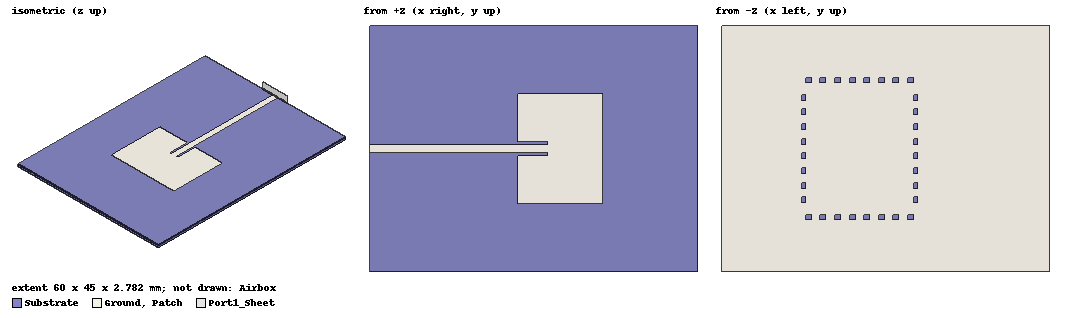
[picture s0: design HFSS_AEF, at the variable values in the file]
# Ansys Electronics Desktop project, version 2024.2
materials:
  vacuum: permittivity=1
  RO4350B: permittivity=3.48 permeability=1 dielectric_loss_tangent=0.0037
  pec: conductivity=1e+30
  air: permittivity=1.0006 permeability=1.0000004

design HFSS_AEF (HFSS, HFSS Terminal Network, model units mm)
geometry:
  Substrate [RO4350B] = box(corner=(-30mm, -22.5mm, 0mm), size=(60mm, 45mm, 0.762mm))
  Ground [pec] = rectangle(corner=(-30mm, -22.5mm, 0mm), x_size=60mm, y_size=45mm)
  Patch [pec] = rectangle(corner=(-2.99995mm, -10.01535mm, 0.762mm), x_size=15.5383mm, y_size=20.0307mm)
  Feed = rectangle(corner=(-30mm, -0.7991mm, 0.762mm), x_size=32.58775mm, y_size=1.5982mm)
  Patch.unite(Feed)
  TopCut_0_inset_gap_top = rectangle(corner=(-2.99995mm, 0.7991mm, 0.762mm), x_size=5.5877mm, y_size=0.4795mm)
  TopCut_1_inset_gap_bottom = rectangle(corner=(-2.99995mm, -1.2786mm, 0.762mm), x_size=5.5877mm, y_size=0.4795mm)
  Patch.subtract(TopCut_0_inset_gap_top, TopCut_1_inset_gap_bottom)
  GroundCut_0_ebg_0 = rectangle(corner=(-5.1421137mm, -12.897303mm, 0mm), x_size=1.0966761mm, y_size=0.76390681mm)
  GroundCut_1_ebg_1 = rectangle(corner=(-2.4669778mm, -12.897303mm, 0mm), x_size=1.0966761mm, y_size=0.76390681mm)
  GroundCut_2_ebg_2 = rectangle(corner=(0.20815807mm, -12.897303mm, 0mm), x_size=1.0966761mm, y_size=0.76390681mm)
  GroundCut_3_ebg_3 = rectangle(corner=(2.883294mm, -12.897303mm, 0mm), x_size=1.0966761mm, y_size=0.76390681mm)
  GroundCut_4_ebg_4 = rectangle(corner=(5.5584299mm, -12.897303mm, 0mm), x_size=1.0966761mm, y_size=0.76390681mm)
  GroundCut_5_ebg_5 = rectangle(corner=(8.2335658mm, -12.897303mm, 0mm), x_size=1.0966761mm, y_size=0.76390681mm)
  GroundCut_6_ebg_6 = rectangle(corner=(10.908702mm, -12.897303mm, 0mm), x_size=1.0966761mm, y_size=0.76390681mm)
  GroundCut_7_ebg_7 = rectangle(corner=(13.583838mm, -12.897303mm, 0mm), x_size=1.0966761mm, y_size=0.76390681mm)
  GroundCut_8_ebg_8 = rectangle(corner=(-5.1421137mm, 12.133397mm, 0mm), x_size=1.0966761mm, y_size=0.76390681mm)
  GroundCut_9_ebg_9 = rectangle(corner=(-2.4669778mm, 12.133397mm, 0mm), x_size=1.0966761mm, y_size=0.76390681mm)
  GroundCut_10_ebg_10 = rectangle(corner=(0.20815807mm, 12.133397mm, 0mm), x_size=1.0966761mm, y_size=0.76390681mm)
  GroundCut_11_ebg_11 = rectangle(corner=(2.883294mm, 12.133397mm, 0mm), x_size=1.0966761mm, y_size=0.76390681mm)
  GroundCut_12_ebg_12 = rectangle(corner=(5.5584299mm, 12.133397mm, 0mm), x_size=1.0966761mm, y_size=0.76390681mm)
  GroundCut_13_ebg_13 = rectangle(corner=(8.2335658mm, 12.133397mm, 0mm), x_size=1.0966761mm, y_size=0.76390681mm)
  GroundCut_14_ebg_14 = rectangle(corner=(10.908702mm, 12.133397mm, 0mm), x_size=1.0966761mm, y_size=0.76390681mm)
  GroundCut_15_ebg_15 = rectangle(corner=(13.583838mm, 12.133397mm, 0mm), x_size=1.0966761mm, y_size=0.76390681mm)
  GroundCut_16_ebg_16 = rectangle(corner=(-5.8819034mm, -9.9113137mm, 0mm), x_size=0.76390681mm, y_size=1.0966761mm)
  GroundCut_17_ebg_17 = rectangle(corner=(-5.8819034mm, -7.2361778mm, 0mm), x_size=0.76390681mm, y_size=1.0966761mm)
  GroundCut_18_ebg_18 = rectangle(corner=(-5.8819034mm, -4.5610419mm, 0mm), x_size=0.76390681mm, y_size=1.0966761mm)
  GroundCut_19_ebg_19 = rectangle(corner=(-5.8819034mm, -1.885906mm, 0mm), x_size=0.76390681mm, y_size=1.0966761mm)
  GroundCut_20_ebg_20 = rectangle(corner=(-5.8819034mm, 0.78922989mm, 0mm), x_size=0.76390681mm, y_size=1.0966761mm)
  GroundCut_21_ebg_21 = rectangle(corner=(-5.8819034mm, 3.4643658mm, 0mm), x_size=0.76390681mm, y_size=1.0966761mm)
  GroundCut_22_ebg_22 = rectangle(corner=(-5.8819034mm, 6.1395017mm, 0mm), x_size=0.76390681mm, y_size=1.0966761mm)
  GroundCut_23_ebg_23 = rectangle(corner=(-5.8819034mm, 8.8146376mm, 0mm), x_size=0.76390681mm, y_size=1.0966761mm)
  GroundCut_24_ebg_24 = rectangle(corner=(14.656397mm, -9.9113137mm, 0mm), x_size=0.76390681mm, y_size=1.0966761mm)
  GroundCut_25_ebg_25 = rectangle(corner=(14.656397mm, -7.2361778mm, 0mm), x_size=0.76390681mm, y_size=1.0966761mm)
  GroundCut_26_ebg_26 = rectangle(corner=(14.656397mm, -4.5610419mm, 0mm), x_size=0.76390681mm, y_size=1.0966761mm)
  GroundCut_27_ebg_27 = rectangle(corner=(14.656397mm, -1.885906mm, 0mm), x_size=0.76390681mm, y_size=1.0966761mm)
  GroundCut_28_ebg_28 = rectangle(corner=(14.656397mm, 0.78922989mm, 0mm), x_size=0.76390681mm, y_size=1.0966761mm)
  GroundCut_29_ebg_29 = rectangle(corner=(14.656397mm, 3.4643658mm, 0mm), x_size=0.76390681mm, y_size=1.0966761mm)
  GroundCut_30_ebg_30 = rectangle(corner=(14.656397mm, 6.1395017mm, 0mm), x_size=0.76390681mm, y_size=1.0966761mm)
  GroundCut_31_ebg_31 = rectangle(corner=(14.656397mm, 8.8146376mm, 0mm), x_size=0.76390681mm, y_size=1.0966761mm)
  Ground.subtract(GroundCut_0_ebg_0, GroundCut_1_ebg_1, GroundCut_2_ebg_2, GroundCut_3_ebg_3, GroundCut_4_ebg_4, GroundCut_5_ebg_5, GroundCut_6_ebg_6, GroundCut_7_ebg_7, GroundCut_8_ebg_8, GroundCut_9_ebg_9, GroundCut_10_ebg_10, GroundCut_11_ebg_11, GroundCut_12_ebg_12, GroundCut_13_ebg_13, GroundCut_14_ebg_14, GroundCut_15_ebg_15, GroundCut_16_ebg_16, GroundCut_17_ebg_17, GroundCut_18_ebg_18, GroundCut_19_ebg_19, GroundCut_20_ebg_20, GroundCut_21_ebg_21, GroundCut_22_ebg_22, GroundCut_23_ebg_23, GroundCut_24_ebg_24, GroundCut_25_ebg_25, GroundCut_26_ebg_26, GroundCut_27_ebg_27, GroundCut_28_ebg_28, GroundCut_29_ebg_29, GroundCut_30_ebg_30, GroundCut_31_ebg_31)
  Airbox [air] = box(corner=(-30mm, -42.5mm, -20mm), size=(80mm, 85mm, 40.762mm))
  Port1_Sheet = rectangle(corner=(-30mm, -3.9955mm, -0.02mm), y_size=7.991mm, z_size=2.782mm)
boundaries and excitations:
  Copper_PEC: Perfect E Objects=[Ground, Patch]
  Radiation: Radiation Objects=Airbox
  Port1: Wave Port Objects=Port1_Sheet WavePortType=Modal NumModes=1 Modes{Mode1{CharImp=Zpi RenormImp=50ohm}}
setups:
  Setup1: HfssDriven Frequency=5GHz MaxDeltaS=0.02 MaximumPasses=10 MinimumPasses=1 MinimumConvergedPasses=1 PercentRefinement=30 BasisOrder=1 PortAccuracy=2 DrivenSolverType="Direct Solver"
    sweep Sweep_4_6GHz: 4GHz to 6GHz, 101 points; Type=Interpolating SaveRadFields InterpTolerance=0.5 InterpMaxSolns=250 InterpUsePortImped=false PassivityErrorTolerance=0.0001
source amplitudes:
  Port1:1: 1V 0deg
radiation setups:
  InfiniteSphere_EH_Cuts: Infinite Sphere Theta=-180deg..180deg step 1deg Phi=-90deg..90deg step 90deg
